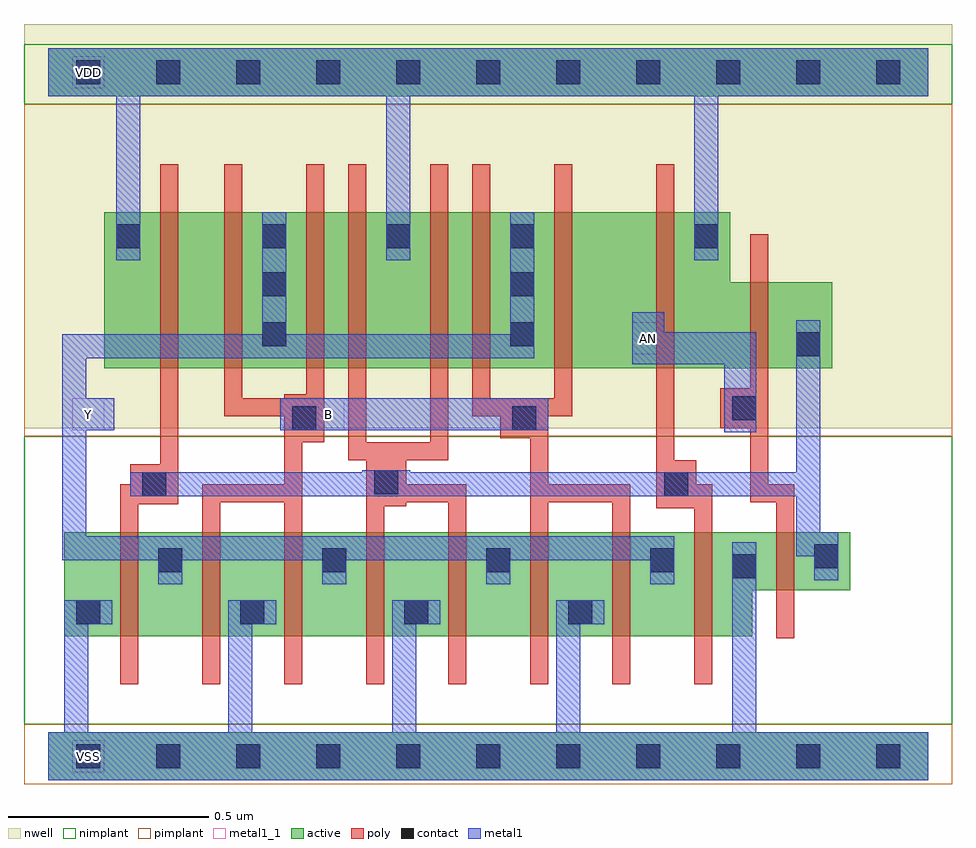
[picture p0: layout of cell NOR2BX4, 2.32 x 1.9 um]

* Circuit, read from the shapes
.subckt NOR2BX4 AN B VDD VSS Y
M1 Y n1 VSS VSS nfet w=0.26u l=0.045u m=4
M2 VSS B Y VSS nfet w=0.26u l=0.045u m=4
M3 n1 AN VSS VSS nfet w=0.145u l=0.045u
M4 n2 n1 VDD VDD pfet w=0.39u l=0.045u
M5 Y B n2 VDD pfet w=0.39u l=0.045u
M6 n3 B Y VDD pfet w=0.39u l=0.045u
M7 VDD n1 n3 VDD pfet w=0.39u l=0.045u
M8 n4 n1 VDD VDD pfet w=0.39u l=0.045u
M9 Y B n4 VDD pfet w=0.39u l=0.045u
M10 n5 B Y VDD pfet w=0.39u l=0.045u
M11 VDD n1 n5 VDD pfet w=0.39u l=0.045u
M12 n1 AN VDD VDD pfet w=0.215u l=0.045u
.ends

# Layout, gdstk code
import gdstk
lib = gdstk.Library(unit=1e-6, precision=5e-10)
def R(c, l, rs):  # rectangles x0, y0, x1, y1
    for r in rs: c.add(gdstk.rectangle(r[:2], r[2:], *l))
def A(c, l, x, y, w, h, nx, ny, dx, dy):  # array of equal rectangles
    R(c, l, [(x+i*dx, y+j*dy, x+i*dx+w, y+j*dy+h) for i in range(nx) for j in range(ny)])
def P(c, l, *ps):  # polygons
    for p in ps: c.add(gdstk.Polygon(p, *l))
active = (1, 0)
nwell = (2, 0)
poly = (3, 0)
nimplant = (4, 0)
pimplant = (5, 0)
contact = (6, 0)
metal1 = (7, 0)
metal1_1 = (7, 1)

nor2bx4 = lib.new_cell('NOR2BX4')
R(nor2bx4, active, [(0,-0.06,2.2,0.06), (0,1.65,2.2,1.77)])
P(nor2bx4, active, [(0.14,1.36),(1.705,1.36),(1.705,1.185),(1.96,1.185),(1.96,0.97),(0.14,0.97)],
  [(0.04,0.56),(2.005,0.56),(2.005,0.415),(1.76,0.415),(1.76,0.3),(0.04,0.3)])
R(nor2bx4, nwell, [(-0.06,0.82,2.26,1.83)])
P(nor2bx4, poly, [(0.28,1.48),(0.325,1.48),(0.325,0.63),(0.225,0.63),(0.225,0.18),(0.18,0.18),(0.18,0.68),(0.205,0.68),(0.205,0.73),(0.28,0.73)],
  [(0.44,1.48),(0.485,1.48),(0.485,0.895),(0.59,0.895),(0.59,0.905),(0.645,0.905),(0.645,1.48),(0.69,1.48),(0.69,0.785),(0.635,0.785),(0.635,0.18),(0.59,0.18),(0.59,0.635),(0.43,0.635),(0.43,0.18),(0.385,0.18),(0.385,0.68),(0.59,0.68),(0.59,0.85),(0.44,0.85)],
  [(0.75,1.48),(0.795,1.48),(0.795,0.785),(0.955,0.785),(0.955,1.48),(1,1.48),(1,0.74),(0.895,0.74),(0.895,0.68),(1.045,0.68),(1.045,0.18),(1,0.18),(1,0.635),(0.895,0.635),(0.895,0.625),(0.84,0.625),(0.84,0.18),(0.795,0.18),(0.795,0.74),(0.75,0.74)],
  [(1.06,1.48),(1.105,1.48),(1.105,0.895),(1.265,0.895),(1.265,1.48),(1.31,1.48),(1.31,0.85),(1.25,0.85),(1.25,0.68),(1.455,0.68),(1.455,0.18),(1.41,0.18),(1.41,0.635),(1.25,0.635),(1.25,0.18),(1.205,0.18),(1.205,0.795),(1.13,0.795),(1.13,0.85),(1.06,0.85)],
  [(1.52,1.48),(1.565,1.48),(1.565,0.74),(1.62,0.74),(1.62,0.68),(1.66,0.68),(1.66,0.18),(1.615,0.18),(1.615,0.62),(1.52,0.62)],
  [(1.755,1.305),(1.8,1.305),(1.8,0.68),(1.865,0.68),(1.865,0.295),(1.82,0.295),(1.82,0.635),(1.755,0.635),(1.755,0.82),(1.68,0.82),(1.68,0.92),(1.755,0.92)])
R(nor2bx4, nimplant, [(-0.06,0.08,2.26,0.8), (-0.06,1.63,2.26,1.78)])
R(nor2bx4, pimplant, [(-0.06,-0.07,2.26,0.08), (-0.06,0.8,2.26,1.63)])
A(nor2bx4, contact, 0.07, -0.03, 0.06, 0.06, 11, 2, 0.2, 1.71)
A(nor2bx4, contact, 0.07, 0.33, 0.06, 0.06, 4, 1, 0.41, 0)
A(nor2bx4, contact, 0.275, 0.46, 0.06, 0.06, 4, 1, 0.41, 0)
A(nor2bx4, contact, 0.535, 1.27, 0.06, 0.06, 3, 1, 0.31, 0)
R(nor2bx4, contact, [(1.71,0.445,1.77,0.505), (1.915,0.47,1.975,0.53), (0.235,0.65,0.295,0.71), (1.54,0.65,1.6,0.71), (0.815,0.655,0.875,0.715), (0.61,0.815,0.67,0.875), (1.16,0.815,1.22,0.875), (1.71,0.84,1.77,0.9), (1.87,1,1.93,1.06), (0.535,1.025,0.595,1.085), (1.155,1.025,1.215,1.085), (0.535,1.15,0.595,1.21), (1.155,1.15,1.215,1.21), (0.17,1.27,0.23,1.33), (1.615,1.27,1.675,1.33)])
R(nor2bx4, metal1, [(0.58,0.815,1.25,0.895)])
P(nor2bx4, metal1, [(0,1.77),(2.2,1.77),(2.2,1.65),(1.675,1.65),(1.675,1.24),(1.615,1.24),(1.615,1.65),(0.905,1.65),(0.905,1.24),(0.845,1.24),(0.845,1.65),(0.23,1.65),(0.23,1.24),(0.17,1.24),(0.17,1.65),(0,1.65)],
  [(0.535,1.36),(0.595,1.36),(0.595,1.055),(1.155,1.055),(1.155,1.36),(1.215,1.36),(1.215,0.995),(0.095,0.995),(0.095,0.895),(0.165,0.895),(0.165,0.815),(0.095,0.815),(0.095,0.55),(1.565,0.55),(1.565,0.43),(1.505,0.43),(1.505,0.49),(1.155,0.49),(1.155,0.43),(1.095,0.43),(1.095,0.49),(0.745,0.49),(0.745,0.43),(0.685,0.43),(0.685,0.49),(0.335,0.49),(0.335,0.43),(0.275,0.43),(0.275,0.49),(0.035,0.49),(0.035,1.055),(0.535,1.055)],
  [(0.785,0.715),(0.905,0.715),(0.905,0.71),(1.87,0.71),(1.87,1.09),(1.93,1.09),(1.93,0.56),(1.975,0.56),(1.975,0.44),(1.915,0.44),(1.915,0.5),(1.87,0.5),(1.87,0.65),(0.205,0.65),(0.205,0.71),(0.785,0.71)],
  [(1.46,1.11),(1.54,1.11),(1.54,1.06),(1.77,1.06),(1.77,0.81),(1.69,0.81),(1.69,0.98),(1.46,0.98)],
  [(0.04,0.39),(0.16,0.39),(0.16,0.33),(0.1,0.33),(0.1,0.06),(0.45,0.06),(0.45,0.39),(0.57,0.39),(0.57,0.33),(0.51,0.33),(0.51,0.06),(0.86,0.06),(0.86,0.39),(0.98,0.39),(0.98,0.33),(0.92,0.33),(0.92,0.06),(1.27,0.06),(1.27,0.39),(1.39,0.39),(1.39,0.33),(1.33,0.33),(1.33,0.06),(1.71,0.06),(1.71,0.535),(1.77,0.535),(1.77,0.06),(2.2,0.06),(2.2,-0.06),(0,-0.06),(0,0.06),(0.04,0.06)])
A(nor2bx4, metal1_1, 0.06, -0.04, 0.08, 0.08, 1, 3, 0, 0.855)
R(nor2bx4, metal1_1, [(0.66,0.815,0.74,0.895), (1.46,1.005,1.54,1.085)])
nor2bx4.add(gdstk.Label('Y', (0.1,0.855), layer=7, texttype=1))
nor2bx4.add(gdstk.Label('B', (0.7,0.855), layer=7, texttype=1))
nor2bx4.add(gdstk.Label('AN', (1.5,1.045), layer=7, texttype=1))
nor2bx4.add(gdstk.Label('VDD', (0.1,1.71), layer=7, texttype=1))
nor2bx4.add(gdstk.Label('VSS', (0.1,0), layer=7, texttype=1))
nor2bx4.add(gdstk.Label('NOR2BX4', (0,0), layer=63, texttype=0))

lib.write_gds('NOR2BX4.gds')
